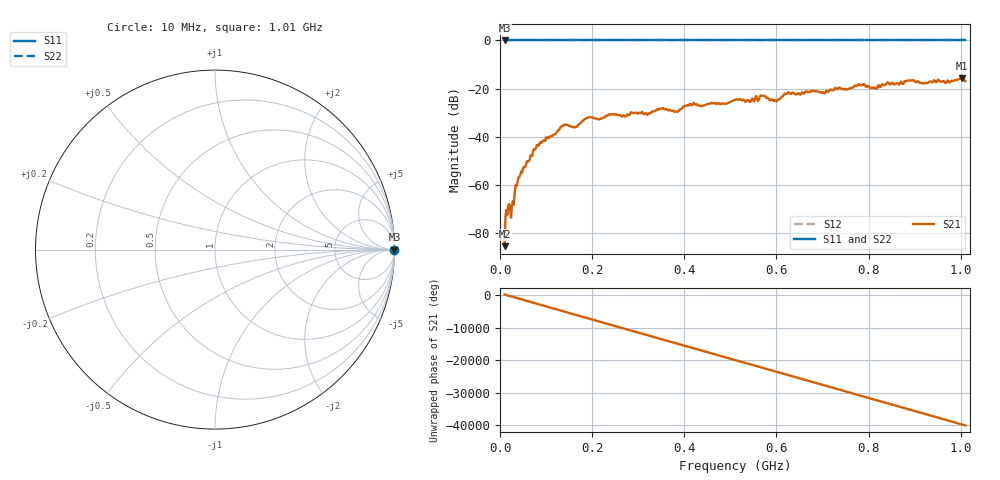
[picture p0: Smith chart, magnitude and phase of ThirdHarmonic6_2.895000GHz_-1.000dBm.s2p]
! 8/17/2025 7:59:02 AM
! C:\ANRITSUVNA\TEMP\TEMP.S2P
! CHANNEL.1
! TR.MEASUREMENT
! RAW.DATA
! RF.CORRECTION.OFF
! AVERAGING.OFF
! IF.BANDWIDTH: 5KHZ
! SWEEPTYPE:  FREQ.SWEEP(Linear)
! Reference Plane Port Info
! PORT:  PORT1  PORT2
! DISTANCE:  0  m  0  m
! TIME:  0  s  0  s
! PHASE.OFFSET:  0  deg.  0  deg.
! LOSS:  0  dB  0  dB
! REF.LOSS:  0  dB  0  dB
! REF.FREQ:  0  Hz  0  Hz
! Power Info
! POWER:  -20  dBm  -20  dBm
! EFF.POWER:  -20  dBm  -20  dBm
! SOURCE.ATTEN:  0  dB  0  dB
! TEST.ATTEN:  0  dB  0  dB
# GHZ S RI R 50.0
! FREQ.GHZ  S11RE  S11IM  S21RE  S21IM  S12RE  S12IM  S22RE  S22IM
!; PortSelection: Port_12
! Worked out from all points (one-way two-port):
!   501 points, 10 MHz to 1.01 GHz, reference 50 ohm
!   highest |S21| = -15.62 dB at 1.002 GHz (marker M1); lowest = -85.3 dB at 10 MHz (marker M2)
!   lowest |S11| = 0.0 dB at 10 MHz (marker M3)
!   |S11| at or under -10 dB: nowhere
!   |S22| runs from 0.0 to 0.0 dB; largest |S21 - S12| = 1.2
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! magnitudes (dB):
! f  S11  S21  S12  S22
! 10 MHz  0.0  -85.3  0.0  0.0
! 16 MHz  0.0  -72.3  0.0  0.0
! 26 MHz  0.0  -68.3  0.0  0.0
! 36 MHz  0.0  -60.4  0.0  0.0
! 42 MHz  0.0  -56.5  0.0  0.0
! 76 MHz  0.0  -45.3  0.0  0.0
! 136 MHz  0.0  -35.5  0.0  0.0
! 164 MHz  0.0  -36.0  0.0  0.0
! 178 MHz  0.0  -33.6  0.0  0.0
! 344 MHz  0.0  -28.7  0.0  0.0
! 384 MHz  0.0  -29.5  0.0  0.0
! 416 MHz  0.0  -27.0  0.0  0.0
! 510 MHz  0.0  -24.6  0.0  0.0
! 570 MHz  0.0  -22.9  0.0  0.0
! 598 MHz  0.0  -25.0  0.0  0.0
! 622 MHz  0.0  -22.2  0.0  0.0
! 678 MHz  0.0  -20.9  0.0  0.0
! 784 MHz  0.0  -18.6  0.0  0.0
! 814 MHz  0.0  -19.6  0.0  0.0
! 844 MHz  0.0  -17.9  0.0  0.0
! 1.002 GHz  0.0  -15.6  0.0  0.0
! 1.01 GHz  0.0  -16.9  0.0  0.0
